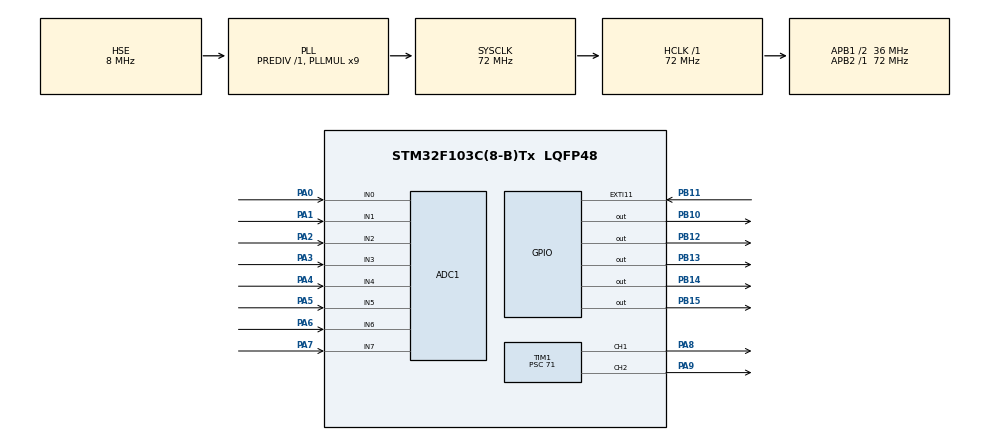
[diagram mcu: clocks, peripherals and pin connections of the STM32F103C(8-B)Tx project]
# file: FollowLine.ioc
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ADC1.Channel-0\#ChannelRegularConversion=ADC_CHANNEL_0
ADC1.Channel-1\#ChannelRegularConversion=ADC_CHANNEL_1
ADC1.Channel-2\#ChannelRegularConversion=ADC_CHANNEL_2
ADC1.Channel-3\#ChannelRegularConversion=ADC_CHANNEL_3
ADC1.Channel-4\#ChannelRegularConversion=ADC_CHANNEL_4
ADC1.Channel-5\#ChannelRegularConversion=ADC_CHANNEL_5
ADC1.Channel-6\#ChannelRegularConversion=ADC_CHANNEL_6
ADC1.Channel-7\#ChannelRegularConversion=ADC_CHANNEL_7
ADC1.ContinuousConvMode=ENABLE
ADC1.NbrOfConversion=8
ADC1.NbrOfConversionFlag=1
ADC1.Rank-0\#ChannelRegularConversion=1
ADC1.Rank-1\#ChannelRegularConversion=2
ADC1.Rank-2\#ChannelRegularConversion=3
ADC1.Rank-3\#ChannelRegularConversion=4
ADC1.Rank-4\#ChannelRegularConversion=5
ADC1.Rank-5\#ChannelRegularConversion=6
ADC1.Rank-6\#ChannelRegularConversion=7
ADC1.Rank-7\#ChannelRegularConversion=8
ADC1.SamplingTime-0\#ChannelRegularConversion=ADC_SAMPLETIME_55CYCLES_5
ADC1.SamplingTime-1\#ChannelRegularConversion=ADC_SAMPLETIME_55CYCLES_5
ADC1.SamplingTime-2\#ChannelRegularConversion=ADC_SAMPLETIME_55CYCLES_5
ADC1.SamplingTime-3\#ChannelRegularConversion=ADC_SAMPLETIME_55CYCLES_5
ADC1.SamplingTime-4\#ChannelRegularConversion=ADC_SAMPLETIME_55CYCLES_5
ADC1.SamplingTime-5\#ChannelRegularConversion=ADC_SAMPLETIME_55CYCLES_5
ADC1.SamplingTime-6\#ChannelRegularConversion=ADC_SAMPLETIME_55CYCLES_5
ADC1.SamplingTime-7\#ChannelRegularConversion=ADC_SAMPLETIME_55CYCLES_5
ADC1.master=1
Dma.ADC1.0.Direction=DMA_PERIPH_TO_MEMORY
Dma.ADC1.0.Instance=DMA1_Channel1
Dma.ADC1.0.MemDataAlignment=DMA_MDATAALIGN_HALFWORD
Dma.ADC1.0.MemInc=DMA_MINC_ENABLE
Dma.ADC1.0.Mode=DMA_CIRCULAR
Dma.ADC1.0.PeriphDataAlignment=DMA_PDATAALIGN_HALFWORD
Dma.ADC1.0.PeriphInc=DMA_PINC_DISABLE
Dma.ADC1.0.Priority=DMA_PRIORITY_LOW
Dma.Request0=ADC1
Mcu.Family=STM32F1
Mcu.Name=STM32F103C(8-B)Tx
Mcu.Package=LQFP48
NVIC.DMA1_Channel1_IRQn=true\:0\:0\:false\:false\:true\:false\:true\:true
NVIC.EXTI15_10_IRQn=true\:0\:0\:false\:false\:true\:true\:true\:true
NVIC.PriorityGroup=NVIC_PRIORITYGROUP_4
PA0-WKUP.Signal=ADCx_IN0
PA1.Signal=ADCx_IN1
PA13.Mode=Serial_Wire
PA13.Signal=SYS_JTMS-SWDIO
PA14.Mode=Serial_Wire
PA14.Signal=SYS_JTCK-SWCLK
PA2.Signal=ADCx_IN2
PA3.Signal=ADCx_IN3
PA4.Signal=ADCx_IN4
PA5.Signal=ADCx_IN5
PA6.Signal=ADCx_IN6
PA7.Signal=ADCx_IN7
PA8.Signal=S_TIM1_CH1
PA9.Signal=S_TIM1_CH2
PB10.Signal=GPIO_Output
PB11.GPIO_ModeDefaultEXTI=GPIO_MODE_IT_RISING_FALLING
PB11.Signal=GPXTI11
PB12.Signal=GPIO_Output
PB13.Signal=GPIO_Output
PB14.Signal=GPIO_Output
PB15.Signal=GPIO_Output
ProjectManager.HeapSize=0x200
ProjectManager.StackSize=0x400
ProjectManager.TargetToolchain=STM32CubeIDE
RCC.ADCPresc=RCC_ADCPCLK2_DIV6
RCC.AHBFreq_Value=72000000
RCC.APB1CLKDivider=RCC_HCLK_DIV2
RCC.APB1Freq_Value=36000000
RCC.APB1TimFreq_Value=72000000
RCC.APB2Freq_Value=72000000
RCC.APB2TimFreq_Value=72000000
RCC.HCLKFreq_Value=72000000
RCC.PLLMUL=RCC_PLL_MUL9
RCC.PLLSourceVirtual=RCC_PLLSOURCE_HSE
RCC.SYSCLKFreq_VALUE=72000000
RCC.SYSCLKSource=RCC_SYSCLKSOURCE_PLLCLK
RCC.USBFreq_Value=72000000
SH.ADCx_IN0.0=ADC1_IN0,IN0
SH.ADCx_IN1.0=ADC1_IN1,IN1
SH.ADCx_IN2.0=ADC1_IN2,IN2
SH.ADCx_IN3.0=ADC1_IN3,IN3
SH.ADCx_IN4.0=ADC1_IN4,IN4
SH.ADCx_IN5.0=ADC1_IN5,IN5
SH.ADCx_IN6.0=ADC1_IN6,IN6
SH.ADCx_IN7.0=ADC1_IN7,IN7
SH.S_TIM1_CH1.0=TIM1_CH1,PWM Generation1 CH1
SH.S_TIM1_CH2.0=TIM1_CH2,PWM Generation2 CH2
TIM1.Channel-PWM\ Generation1\ CH1=TIM_CHANNEL_1
TIM1.Channel-PWM\ Generation2\ CH2=TIM_CHANNEL_2
TIM1.Period=999
TIM1.Prescaler=71
TIM2.Prescaler=71
VP_TIM1_VS_ClockSourceINT.Mode=Internal
VP_TIM2_VS_ClockSourceINT.Mode=Internal
board=custom

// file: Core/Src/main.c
/* USER CODE BEGIN Header */
/**
  ******************************************************************************
  * @file           : main.c
  * @brief          : Main program body
  ******************************************************************************
  * @attention
  *
  * Copyright (c) 2026 STMicroelectronics.
  * All rights reserved.
  *
  * This software is licensed under terms that can be found in the LICENSE file
  * in the root directory of this software component.
  * If no LICENSE file comes with this software, it is provided AS-IS.
  *
  ******************************************************************************
  */
/* USER CODE END Header */
#include "main.h"

/* USER CODE BEGIN PD */
#define MAX_PWM 1000
#define ADC_COMPA 2000
#define SPEED 500
/* USER CODE END PD */

ADC_HandleTypeDef hadc1;
DMA_HandleTypeDef hdma_adc1;

TIM_HandleTypeDef htim1;
TIM_HandleTypeDef htim2;

void SystemClock_Config(void);
static void MX_GPIO_Init(void);
static void MX_DMA_Init(void);
static void MX_ADC1_Init(void);
static void MX_TIM1_Init(void);
static void MX_TIM2_Init(void);
/* USER CODE BEGIN PFP */
// Thêm từ khóa volatile cho các biến dùng chung giữa ngắt (EXTI/DMA) và vòng lặp chính
// để tránh trình biên dịch tối ưu hóa lưu biến vào thanh ghi CPU gây mất phản hồi
volatile uint8_t is_avoiding = 0;
volatile uint16_t adc[8];

float error = 0;
float last_error = 0;
float I = 0;
float Kp = 35.0, Ki = 0.0, Kd = 15.0;
float PID_value = 0;

void delay_us(uint16_t us) {								// Hàm delay theo us để gửi xung cho cảm biến siêu âm
    __HAL_TIM_SET_COUNTER(&htim2, 0);
    while (__HAL_TIM_GET_COUNTER(&htim2) < us);
}

void pulse(GPIO_TypeDef *Port, uint16_t pin, uint8_t t){    // Tạo xung kích hoạt (Trigger) cho cảm biến siêu âm
	HAL_GPIO_WritePin(Port , pin, GPIO_PIN_RESET);
	delay_us(t/10);
	HAL_GPIO_WritePin(Port, pin, GPIO_PIN_SET);
	delay_us(t);
	HAL_GPIO_WritePin(Port, pin, GPIO_PIN_RESET);
}

void Set_Motor_Speed(int16_t speed_left, int16_t speed_right) {
	    uint16_t pwm_left = 0;
	    uint16_t pwm_right = 0;

	    // Giới hạn giá trị PWM trong dải [-MAX_PWM, MAX_PWM]
	    if (speed_left > MAX_PWM) speed_left = MAX_PWM;
	    else if (speed_left < -MAX_PWM) speed_left = -MAX_PWM;
	    if (speed_right > MAX_PWM) speed_right = MAX_PWM;
	    else if (speed_right < -MAX_PWM) speed_right = -MAX_PWM;

	    // Điều khiển chiều quay và độ rộng xung động cơ trái (PB12, PB13, TIM1_CH1)
	    if (speed_left >= 0) {
	        HAL_GPIO_WritePin(GPIOB, GPIO_PIN_12, GPIO_PIN_SET);
	        HAL_GPIO_WritePin(GPIOB, GPIO_PIN_13, GPIO_PIN_RESET);
	        pwm_left = speed_left;
	    } else {
	        HAL_GPIO_WritePin(GPIOB, GPIO_PIN_12, GPIO_PIN_RESET);
	        HAL_GPIO_WritePin(GPIOB, GPIO_PIN_13, GPIO_PIN_SET);
	        pwm_left = -speed_left;
	    }

	    // Điều khiển chiều quay và độ rộng xung động cơ phải (PB14, PB15, TIM1_CH2)
	    if (speed_right >= 0) {
	        HAL_GPIO_WritePin(GPIOB, GPIO_PIN_14, GPIO_PIN_SET);
	        HAL_GPIO_WritePin(GPIOB, GPIO_PIN_15, GPIO_PIN_RESET);
	        pwm_right = speed_right;
	    } else {
	        HAL_GPIO_WritePin(GPIOB, GPIO_PIN_14, GPIO_PIN_RESET);
	        HAL_GPIO_WritePin(GPIOB, GPIO_PIN_15, GPIO_PIN_SET);
	        pwm_right = -speed_right;
	    }
	    __HAL_TIM_SET_COMPARE(&htim1, TIM_CHANNEL_1, pwm_left);
	    __HAL_TIM_SET_COMPARE(&htim1, TIM_CHANNEL_2, pwm_right);
}

void pid_calculate(){
	uint8_t weight[8] = {0, 1, 2, 3, 4, 5, 6, 7};
	float setpoint = 3.5;
	uint32_t sum_value = 0;
	uint32_t weighted_sum = 0;
	float position = 0;

	for (int i = 0; i < 8; i++) {
	    if (adc[i] > ADC_COMPA) {
	        weighted_sum += weight[i] * adc[i];
	        sum_value += adc[i];
	    }
	}

	if (sum_value > 0) {
	    // SỬA: Ép kiểu float cho cả tử và mẫu để phép chia giữ lại phần thập phân,
	    // giúp tính toán vị trí vạch line mịn màng thay vì bị cắt thành số nguyên
	    position = (float)weighted_sum / (float)sum_value;
	    error = setpoint - position;
	    // SỬA: ĐÃ XÓA dòng "last_error = error;" ở đây!
	    // Trước đó dòng này làm cho (error - last_error) luôn bằng 0, triệt tiêu khâu vi phân D.
	} else {
	    // Khi mất vạch line hoàn toàn, nhớ hướng lệch trước đó để tiếp tục bẻ lái gắt tìm lại line
	    if (last_error > 0) {
	        error = 4.0;
	    } else {
	        error = -4.0;
	    }
	}

	float P = error;
	// SỬA: Bây giờ last_error vẫn giữ giá trị của chu kỳ trước, khâu D hoạt động chuẩn xác để chống lắc
	float D = error - last_error;
	I += error;

	// Giới hạn chống bão hòa tích phân (Anti-windup)
	if (I > 1000.0f) I = 1000.0f;
	else if (I < -1000.0f) I = -1000.0f;

	PID_value = (Kp * P) + (Ki * I) + (Kd * D);
	last_error = error; // Cập nhật last_error ở cuối hàm cho chu kỳ tiếp theo
}
void avoid(void) {
    static uint8_t state = 0;
    static uint32_t tick = 0;

    switch (state) {
        case 0:
            Set_Motor_Speed(-400, -400);
            tick = HAL_GetTick();
            state = 1;
            break;
        case 1:
            if (HAL_GetTick() - tick >= 300) {
                Set_Motor_Speed(500, -500);
                tick = HAL_GetTick();
                state = 2;
            }
            break;
        case 2:
            if (HAL_GetTick() - tick >= 400) {
                Set_Motor_Speed(400, 400);
                tick = HAL_GetTick();
                state = 3;
            }
            break;
        case 3:
            if (HAL_GetTick() - tick >= 600) {
                Set_Motor_Speed(-500, 500);
                tick = HAL_GetTick();
                state = 4;
            }
            break;
        case 4:
            if (HAL_GetTick() - tick >= 400) {
                Set_Motor_Speed(400, 400);
                tick = HAL_GetTick();
                state = 5;
            }
            break;
        case 5:
            if (HAL_GetTick() - tick >= 800) {
                Set_Motor_Speed(-500, 500);
                tick = HAL_GetTick();
                state = 6;
            }
            break;
        case 6:
            if (HAL_GetTick() - tick >= 350) {
                Set_Motor_Speed(350, 350);
                tick = HAL_GetTick(); // Lưu tick bắt đầu để đếm thời gian cho state 7
                state = 7;
            }
            break;
        case 7:
            // SỬA: Dùng hằng số ADC_COMPA đồng nhất; bổ sung timeout 2000ms để dừng xe nếu xe chạy trượt khỏi vạch line
            if (adc[3] > ADC_COMPA || adc[4] > ADC_COMPA) {
                Set_Motor_Speed(500, -500);
                tick = HAL_GetTick();
                state = 8;
            } else if (HAL_GetTick() - tick >= 2000) {
                // Quá 2 giây không tìm thấy line, dừng xe an toàn
                Set_Motor_Speed(0, 0);
                is_avoiding = 0;
                state = 0;
            }
            break;
        case 8:
            if (HAL_GetTick() - tick >= 150) {
                Set_Motor_Speed(0, 0);
                tick = HAL_GetTick();
                state = 9;
            }
            break;
        case 9:
            if (HAL_GetTick() - tick >= 100) {
                state = 0;
                is_avoiding = 0;
            }
            break;
    }
}
/* USER CODE END PFP */

/* USER CODE BEGIN 0 */
void HAL_GPIO_EXTI_Callback(uint16_t GPIO_Pin){
	if (GPIO_Pin == GPIO_PIN_11) {
		if (HAL_GPIO_ReadPin(GPIOB, GPIO_PIN_11) == GPIO_PIN_SET) {
			__HAL_TIM_SET_COUNTER(&htim2, 0); // Sườn lên: Reset bộ đếm Timer 2 để bắt đầu đo thời gian
		}
		else {
	        uint32_t time_val = __HAL_TIM_GET_COUNTER(&htim2); // Sườn xuống: Lấy độ rộng xung Echo (micro-giây)
	        // Vận tốc âm thanh: 340 m/s = 0.034 cm/us. Khoảng cách (cm) = time * 0.034 / 2
	        float distance = (float)time_val * 0.034f / 2.0f;

	        // Lọc nhiễu khoảng cách ảo (bỏ qua giá trị <= 2cm do phản xạ gần) và phát hiện vật cản < 15cm
	        if (distance > 2.0f && distance < 15.0f) {
	        	__HAL_TIM_SET_COMPARE(&htim1, TIM_CHANNEL_1, 0);
	        	__HAL_TIM_SET_COMPARE(&htim1, TIM_CHANNEL_2, 0);

	            is_avoiding = 1;
	        }
	    }
	}
}
/* USER CODE END 0 */

int main(void)
{

  /* MCU Configuration--------------------------------------------------------*/

  /* Reset of all peripherals, Initializes the Flash interface and the Systick. */
  HAL_Init();

  /* Configure the system clock */
  SystemClock_Config();

  /* Initialize all configured peripherals */
  MX_GPIO_Init();
  MX_DMA_Init();
  MX_ADC1_Init();
  MX_TIM1_Init();
  MX_TIM2_Init();
  /* USER CODE BEGIN 2 */
  HAL_TIM_Base_Start(&htim2);
  HAL_TIM_PWM_Start(&htim1, TIM_CHANNEL_1);
  HAL_TIM_PWM_Start(&htim1, TIM_CHANNEL_2);

  // SỬA: Hiệu chuẩn phần cứng ADC trước khi kích hoạt DMA để loại bỏ sai số offset trên STM32F1
  HAL_ADCEx_Calibration_Start(&hadc1);

  // SỬA: Khởi động ADC đọc liên tục 8 kênh qua DMA vào mảng adc[8]
  HAL_ADC_Start_DMA(&hadc1, (uint32_t*)adc, 8);

  uint32_t pid_loop_tick = 0;
  uint32_t ultrasonic_tick = 0;
  /* USER CODE END 2 */

  /* Infinite loop */
  /* USER CODE BEGIN WHILE */
  while (1)
  {
	  if (is_avoiding == 1) {
		  avoid();
	  }
	  else {
		  // SỬA: Tách chu kỳ phát xung siêu âm riêng (mỗi 60ms) theo chuẩn cảm biến HC-SR04,
		  // tránh phát dồn dập 20ms làm nhận nhầm sóng phản xạ của lần phát trước
		  if (HAL_GetTick() - ultrasonic_tick >= 60) {
		      ultrasonic_tick = HAL_GetTick();
		      pulse(GPIOB, GPIO_PIN_10, 10);
		  }

		  // Chu kỳ tính toán và điều khiển động cơ PID chạy ổn định mỗi 20ms
		  if (HAL_GetTick() - pid_loop_tick >= 20) {
		      pid_loop_tick = HAL_GetTick();
		      pid_calculate();
		      // Cập nhật tốc độ 2 bánh xe
		      // Lưu ý: Nếu thực tế xe lệch trái nhưng lại rẽ trái (ngược hướng), chỉ cần đổi dấu:
		      // Set_Motor_Speed(SPEED - PID_value, SPEED + PID_value);
		      Set_Motor_Speed(SPEED + PID_value, SPEED - PID_value);
		  }
	  }

    /* USER CODE END WHILE */

  }
}

void SystemClock_Config(void)
{
  RCC_OscInitTypeDef RCC_OscInitStruct = {0};
  RCC_ClkInitTypeDef RCC_ClkInitStruct = {0};
  RCC_PeriphCLKInitTypeDef PeriphClkInit = {0};

  /** Initializes the RCC Oscillators according to the specified parameters
  * in the RCC_OscInitTypeDef structure.
  */
  RCC_OscInitStruct.OscillatorType = RCC_OSCILLATORTYPE_HSE;
  // SỬA: Đổi từ RCC_HSE_OFF sang RCC_HSE_ON. Nếu HSE tắt mà PLL dùng nguồn HSE,
  // HAL_RCC_OscConfig sẽ trả về HAL_ERROR và làm chip treo vĩnh viễn trong Error_Handler()
  RCC_OscInitStruct.HSEState = RCC_HSE_ON;
  RCC_OscInitStruct.HSEPredivValue = RCC_HSE_PREDIV_DIV1;
  RCC_OscInitStruct.HSIState = RCC_HSI_ON;
  RCC_OscInitStruct.PLL.PLLState = RCC_PLL_ON;
  RCC_OscInitStruct.PLL.PLLSource = RCC_PLLSOURCE_HSE;
  RCC_OscInitStruct.PLL.PLLMUL = RCC_PLL_MUL9;
  if (HAL_RCC_OscConfig(&RCC_OscInitStruct) != HAL_OK)
  {
    Error_Handler();
  }

  /** Initializes the CPU, AHB and APB buses clocks
  */
  RCC_ClkInitStruct.ClockType = RCC_CLOCKTYPE_HCLK|RCC_CLOCKTYPE_SYSCLK
                              |RCC_CLOCKTYPE_PCLK1|RCC_CLOCKTYPE_PCLK2;
  RCC_ClkInitStruct.SYSCLKSource = RCC_SYSCLKSOURCE_PLLCLK;
  RCC_ClkInitStruct.AHBCLKDivider = RCC_SYSCLK_DIV1;
  RCC_ClkInitStruct.APB1CLKDivider = RCC_HCLK_DIV2;
  RCC_ClkInitStruct.APB2CLKDivider = RCC_HCLK_DIV1;

  if (HAL_RCC_ClockConfig(&RCC_ClkInitStruct, FLASH_LATENCY_2) != HAL_OK)
  {
    Error_Handler();
  }
  PeriphClkInit.PeriphClockSelection = RCC_PERIPHCLK_ADC;
  PeriphClkInit.AdcClockSelection = RCC_ADCPCLK2_DIV6;
  if (HAL_RCCEx_PeriphCLKConfig(&PeriphClkInit) != HAL_OK)
  {
    Error_Handler();
  }
}

static void MX_ADC1_Init(void)
{

  ADC_ChannelConfTypeDef sConfig = {0};

  /** Common config
  */
  hadc1.Instance = ADC1;
  hadc1.Init.ScanConvMode = ADC_SCAN_ENABLE;
  hadc1.Init.ContinuousConvMode = ENABLE;
  hadc1.Init.DiscontinuousConvMode = DISABLE;
  hadc1.Init.ExternalTrigConv = ADC_SOFTWARE_START;
  hadc1.Init.DataAlign = ADC_DATAALIGN_RIGHT;
  hadc1.Init.NbrOfConversion = 8;
  if (HAL_ADC_Init(&hadc1) != HAL_OK)
  {
    Error_Handler();
  }

  // SỬA: Cấu hình tuần tự 8 mắt đọc cảm biến từ PA0 (ADC_CHANNEL_0) đến PA7 (ADC_CHANNEL_7)
  // và tăng SamplingTime lên 55.5 chu kỳ để chống nhiễu xuyên kênh (crosstalk) giữa các mắt đọc

  /** Configure Regular Channel - Rank 1: PA0 (Sensor 0)
  */
  sConfig.Channel = ADC_CHANNEL_0;
  sConfig.Rank = ADC_REGULAR_RANK_1;
  sConfig.SamplingTime = ADC_SAMPLETIME_55CYCLES_5;
  if (HAL_ADC_ConfigChannel(&hadc1, &sConfig) != HAL_OK)
  {
    Error_Handler();
  }

  /** Configure Regular Channel - Rank 2: PA1 (Sensor 1)
  */
  sConfig.Channel = ADC_CHANNEL_1;
  sConfig.Rank = ADC_REGULAR_RANK_2;
  if (HAL_ADC_ConfigChannel(&hadc1, &sConfig) != HAL_OK)
  {
    Error_Handler();
  }

  /** Configure Regular Channel - Rank 3: PA2 (Sensor 2)
  */
  sConfig.Channel = ADC_CHANNEL_2;
  sConfig.Rank = ADC_REGULAR_RANK_3;
  if (HAL_ADC_ConfigChannel(&hadc1, &sConfig) != HAL_OK)
  {
    Error_Handler();
  }

  /** Configure Regular Channel - Rank 4: PA3 (Sensor 3)
  */
  sConfig.Channel = ADC_CHANNEL_3;
  sConfig.Rank = ADC_REGULAR_RANK_4;
  if (HAL_ADC_ConfigChannel(&hadc1, &sConfig) != HAL_OK)
  {
    Error_Handler();
  }

  /** Configure Regular Channel - Rank 5: PA4 (Sensor 4)
  */
  sConfig.Channel = ADC_CHANNEL_4;
  sConfig.Rank = ADC_REGULAR_RANK_5;
  if (HAL_ADC_ConfigChannel(&hadc1, &sConfig) != HAL_OK)
  {
    Error_Handler();
  }

  /** Configure Regular Channel - Rank 6: PA5 (Sensor 5)
  */
  sConfig.Channel = ADC_CHANNEL_5;
  sConfig.Rank = ADC_REGULAR_RANK_6;
  if (HAL_ADC_ConfigChannel(&hadc1, &sConfig) != HAL_OK)
  {
    Error_Handler();
  }

  /** Configure Regular Channel - Rank 7: PA6 (Sensor 6)
  */
  sConfig.Channel = ADC_CHANNEL_6;
  sConfig.Rank = ADC_REGULAR_RANK_7;
  if (HAL_ADC_ConfigChannel(&hadc1, &sConfig) != HAL_OK)
  {
    Error_Handler();
  }

  /** Configure Regular Channel - Rank 8: PA7 (Sensor 7)
  */
  sConfig.Channel = ADC_CHANNEL_7;
  sConfig.Rank = ADC_REGULAR_RANK_8;
  if (HAL_ADC_ConfigChannel(&hadc1, &sConfig) != HAL_OK)
  {
    Error_Handler();
  }

}

static void MX_TIM1_Init(void)
{

  TIM_ClockConfigTypeDef sClockSourceConfig = {0};
  TIM_MasterConfigTypeDef sMasterConfig = {0};
  TIM_OC_InitTypeDef sConfigOC = {0};
  TIM_BreakDeadTimeConfigTypeDef sBreakDeadTimeConfig = {0};

  htim1.Instance = TIM1;
  // SỬA: Đổi Prescaler = 71 và Period = 999 để tạo tần số PWM 1 kHz (72MHz / (71+1) / (999+1) = 1kHz)
  // Khớp dải điều khiển MAX_PWM = 1000 (100% duty cycle) và SPEED = 500 (50% duty cycle)
  htim1.Init.Prescaler = 71;
  htim1.Init.CounterMode = TIM_COUNTERMODE_UP;
  htim1.Init.Period = 999;
  htim1.Init.ClockDivision = TIM_CLOCKDIVISION_DIV1;
  htim1.Init.RepetitionCounter = 0;
  htim1.Init.AutoReloadPreload = TIM_AUTORELOAD_PRELOAD_DISABLE;
  if (HAL_TIM_Base_Init(&htim1) != HAL_OK)
  {
    Error_Handler();
  }
  sClockSourceConfig.ClockSource = TIM_CLOCKSOURCE_INTERNAL;
  if (HAL_TIM_ConfigClockSource(&htim1, &sClockSourceConfig) != HAL_OK)
  {
    Error_Handler();
  }
  if (HAL_TIM_PWM_Init(&htim1) != HAL_OK)
  {
    Error_Handler();
  }
  sMasterConfig.MasterOutputTrigger = TIM_TRGO_RESET;
  sMasterConfig.MasterSlaveMode = TIM_MASTERSLAVEMODE_DISABLE;
  if (HAL_TIMEx_MasterConfigSynchronization(&htim1, &sMasterConfig) != HAL_OK)
  {
    Error_Handler();
  }
  sConfigOC.OCMode = TIM_OCMODE_PWM1;
  sConfigOC.Pulse = 0;
  sConfigOC.OCPolarity = TIM_OCPOLARITY_HIGH;
  sConfigOC.OCNPolarity = TIM_OCNPOLARITY_HIGH;
  sConfigOC.OCFastMode = TIM_OCFAST_DISABLE;
  sConfigOC.OCIdleState = TIM_OCIDLESTATE_RESET;
  sConfigOC.OCNIdleState = TIM_OCNIDLESTATE_RESET;
  if (HAL_TIM_PWM_ConfigChannel(&htim1, &sConfigOC, TIM_CHANNEL_1) != HAL_OK)
  {
    Error_Handler();
  }
  if (HAL_TIM_PWM_ConfigChannel(&htim1, &sConfigOC, TIM_CHANNEL_2) != HAL_OK)
  {
    Error_Handler();
  }
  sBreakDeadTimeConfig.OffStateRunMode = TIM_OSSR_DISABLE;
  sBreakDeadTimeConfig.OffStateIDLEMode = TIM_OSSI_DISABLE;
  sBreakDeadTimeConfig.LockLevel = TIM_LOCKLEVEL_OFF;
  sBreakDeadTimeConfig.DeadTime = 0;
  sBreakDeadTimeConfig.BreakState = TIM_BREAK_DISABLE;
  sBreakDeadTimeConfig.BreakPolarity = TIM_BREAKPOLARITY_HIGH;
  sBreakDeadTimeConfig.AutomaticOutput = TIM_AUTOMATICOUTPUT_DISABLE;
  if (HAL_TIMEx_ConfigBreakDeadTime(&htim1, &sBreakDeadTimeConfig) != HAL_OK)
  {
    Error_Handler();
  }
  HAL_TIM_MspPostInit(&htim1);

}

static void MX_TIM2_Init(void)
{

  TIM_ClockConfigTypeDef sClockSourceConfig = {0};
  TIM_MasterConfigTypeDef sMasterConfig = {0};

  htim2.Instance = TIM2;
  htim2.Init.Prescaler = 71;
  htim2.Init.CounterMode = TIM_COUNTERMODE_UP;
  htim2.Init.Period = 65535;
  htim2.Init.ClockDivision = TIM_CLOCKDIVISION_DIV1;
  htim2.Init.AutoReloadPreload = TIM_AUTORELOAD_PRELOAD_DISABLE;
  if (HAL_TIM_Base_Init(&htim2) != HAL_OK)
  {
    Error_Handler();
  }
  sClockSourceConfig.ClockSource = TIM_CLOCKSOURCE_INTERNAL;
  if (HAL_TIM_ConfigClockSource(&htim2, &sClockSourceConfig) != HAL_OK)
  {
    Error_Handler();
  }
  sMasterConfig.MasterOutputTrigger = TIM_TRGO_RESET;
  sMasterConfig.MasterSlaveMode = TIM_MASTERSLAVEMODE_DISABLE;
  if (HAL_TIMEx_MasterConfigSynchronization(&htim2, &sMasterConfig) != HAL_OK)
  {
    Error_Handler();
  }

}

static void MX_DMA_Init(void)
{

  /* DMA controller clock enable */
  __HAL_RCC_DMA1_CLK_ENABLE();

  /* DMA interrupt init */
  /* DMA1_Channel1_IRQn interrupt configuration */
  HAL_NVIC_SetPriority(DMA1_Channel1_IRQn, 0, 0);
  HAL_NVIC_EnableIRQ(DMA1_Channel1_IRQn);

}

static void MX_GPIO_Init(void)
{
  GPIO_InitTypeDef GPIO_InitStruct = {0};

  /* GPIO Ports Clock Enable */
  __HAL_RCC_GPIOA_CLK_ENABLE();
  __HAL_RCC_GPIOB_CLK_ENABLE();

  /*Configure GPIO pin Output Level */
  HAL_GPIO_WritePin(GPIOB, GPIO_PIN_10|GPIO_PIN_12|GPIO_PIN_13|GPIO_PIN_14
                          |GPIO_PIN_15, GPIO_PIN_RESET);

  /*Configure GPIO pins : PB10 PB12 PB13 PB14
                           PB15 */
  GPIO_InitStruct.Pin = GPIO_PIN_10|GPIO_PIN_12|GPIO_PIN_13|GPIO_PIN_14
                          |GPIO_PIN_15;
  GPIO_InitStruct.Mode = GPIO_MODE_OUTPUT_PP;
  GPIO_InitStruct.Pull = GPIO_NOPULL;
  GPIO_InitStruct.Speed = GPIO_SPEED_FREQ_LOW;
  HAL_GPIO_Init(GPIOB, &GPIO_InitStruct);

  /*Configure GPIO pin : PB11 */
  GPIO_InitStruct.Pin = GPIO_PIN_11;
  GPIO_InitStruct.Mode = GPIO_MODE_IT_RISING_FALLING;
  GPIO_InitStruct.Pull = GPIO_NOPULL;
  HAL_GPIO_Init(GPIOB, &GPIO_InitStruct);

  /* EXTI interrupt init*/
  HAL_NVIC_SetPriority(EXTI15_10_IRQn, 0, 0);
  HAL_NVIC_EnableIRQ(EXTI15_10_IRQn);

}

void Error_Handler(void)
{
  __disable_irq();
  while (1)
  {
  }
}
